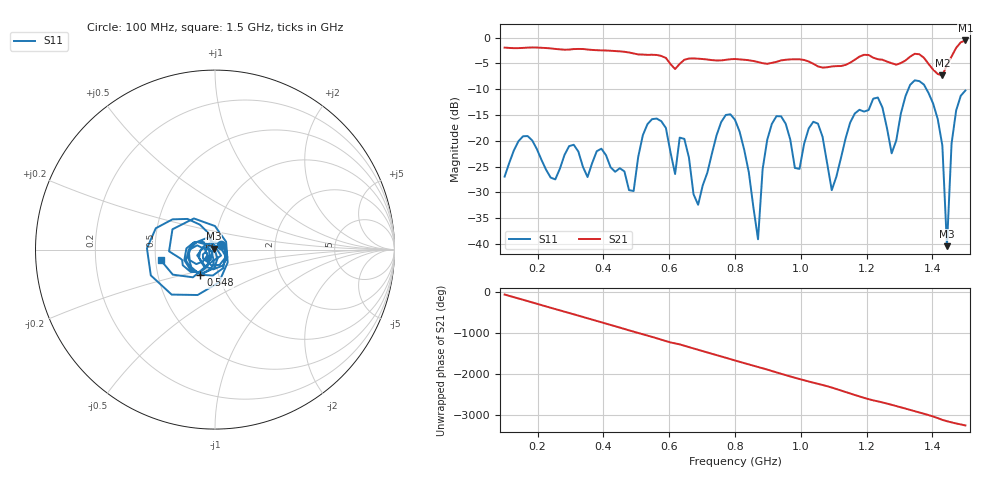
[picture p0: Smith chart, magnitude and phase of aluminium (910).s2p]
! NanoVNA-App
! Date: 2025-09-25 15:02:22
! Start: 100MHz Stop: 1,5GHz Points: 101
! S-Parameter data: F S11 S21 S12 S22
# Hz S RI R 50
!  Frequency  S11_Real  S11_Imag  S21_Real  S21_Imag  S12_Real  S12_Imag  S22_Real  S22_Imag
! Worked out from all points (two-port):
!   101 points, 100 MHz to 1.5 GHz, reference 50 ohm
!   highest |S21| = -0.54 dB at 1.5 GHz (marker M1); lowest = -7.3 dB at 1.43 GHz (marker M2)
!   |S21| within 3 dB of the highest: start of sweep to 575.7 MHz; 1.459 GHz to end of sweep (the widest 2 of 4)
!   lowest |S11| = -40.5 dB at 1.444 GHz (marker M3), VSWR 1.02, Z = 49.2 + j0.536 ohm
!   |S11| at or under -10 dB: start of sweep to 1.327 GHz; 1.382 GHz to end of sweep
!   S12 and S22 are empty: the file has one direction only
!   S11 on the Smith chart (normalised r, x): 100 MHz: 1.07, +0.06; 548 MHz: 0.82, -0.24; 1.5 GHz: 0.53, -0.07
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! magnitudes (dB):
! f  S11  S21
! 100 MHz  -27.0  -1.9
! 156 MHz  -19.1  -2.0
! 338 MHz  -25.1  -2.2
! 492 MHz  -29.8  -3.1
! 548 MHz  -15.8  -3.3
! 576 MHz  -16.2  -3.5
! 618 MHz  -26.5  -6.1
! 646 MHz  -19.6  -4.3
! 688 MHz  -32.4  -4.1
! 800 MHz  -15.9  -4.1
! 870 MHz  -39.1  -4.7
! 912 MHz  -16.7  -4.9
! 996 MHz  -25.5  -4.2
! 1.038 GHz  -16.3  -5.1
! 1.094 GHz  -29.6  -5.6
! 1.22 GHz  -11.8  -3.9
! 1.276 GHz  -22.4  -5.0
! 1.346 GHz  -8.3  -3.1
! 1.43 GHz  -20.9  -7.3
! 1.444 GHz  -40.5  -5.3
! 1.458 GHz  -20.5  -3.6
! 1.5 GHz  -10.3  -0.5
